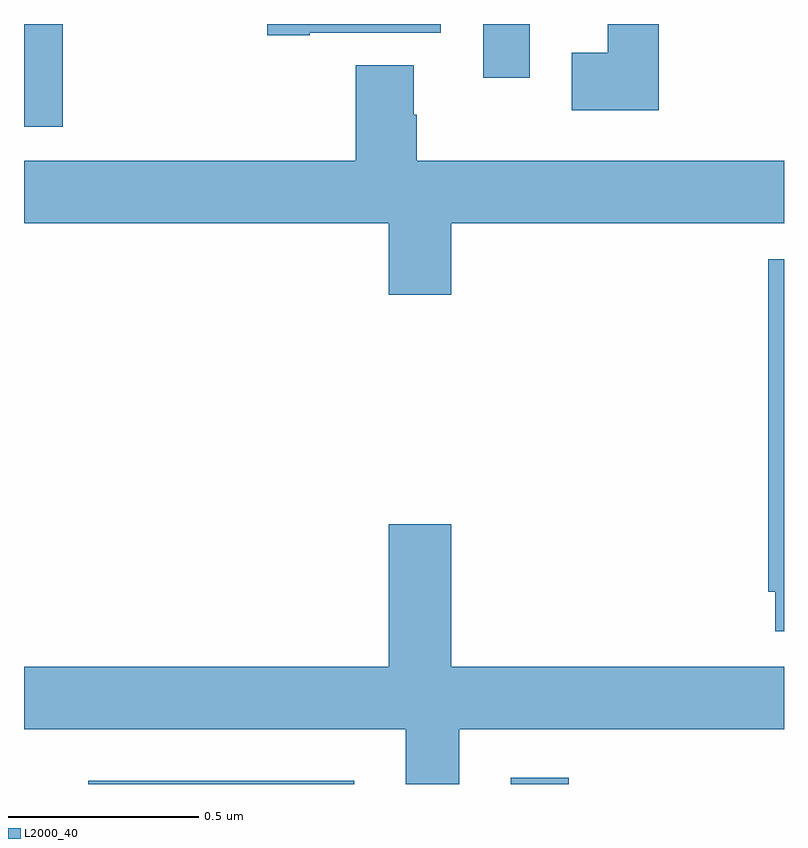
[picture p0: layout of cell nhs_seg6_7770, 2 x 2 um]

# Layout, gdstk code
import gdstk
lib = gdstk.Library(unit=1e-6, precision=1e-09)
def R(c, l, rs):  # rectangles x0, y0, x1, y1
    for r in rs: c.add(gdstk.rectangle(r[:2], r[2:], *l))
def P(c, l, *ps):  # polygons
    for p in ps: c.add(gdstk.Polygon(p, *l))
L2000_40 = (2000, 40)

nhs_seg6_7770 = lib.new_cell('nhs_seg6_7770')
R(nhs_seg6_7770, L2000_40, [(212.169,972.5,212.869,972.508), (213.281,972.5,213.434,972.517), (212,974.229,212.102,974.5), (213.209,974.358,213.331,974.5)])
P(nhs_seg6_7770, L2000_40, [(212.752,974.477),(213.097,974.477),(213.097,974.5),(212.64,974.5),(212.64,974.47),(212.752,974.47)],
  [(213.671,974.5),(213.536,974.5),(213.536,974.425),(213.441,974.425),(213.441,974.273),(213.671,974.273)],
  [(213.124,973.976),(214,973.976),(214,974.14),(213.033,974.14),(213.033,974.261),(213.025,974.261),(213.025,974.392),(212.873,974.392),(212.873,974.14),(212,974.14),(212,973.976),(212.96,973.976),(212.96,973.788),(213.124,973.788)],
  [(214,973.881),(213.958,973.881),(213.958,973.006),(213.977,973.006),(213.977,972.902),(214,972.902)],
  [(213.145,972.644),(214,972.644),(214,972.808),(213.124,972.808),(213.124,973.183),(212.96,973.183),(212.96,972.808),(212,972.808),(212,972.644),(213.005,972.644),(213.005,972.5),(213.145,972.5)])

lib.write_gds('nhs_seg6_7770.gds')
